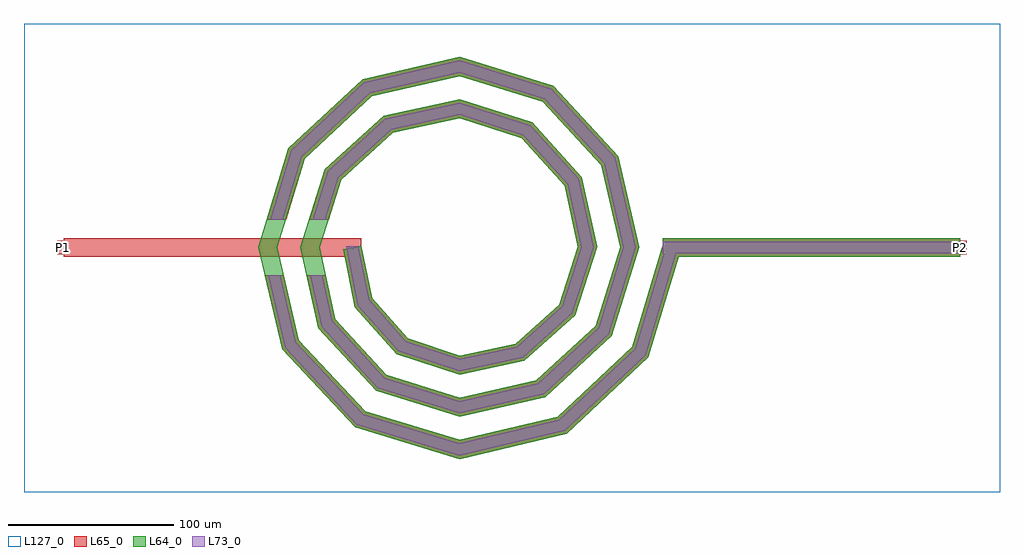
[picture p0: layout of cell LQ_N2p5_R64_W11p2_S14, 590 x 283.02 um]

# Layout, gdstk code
import gdstk
lib = gdstk.Library(unit=1e-6, precision=1e-09)
def R(c, l, rs):  # rectangles x0, y0, x1, y1
    for r in rs: c.add(gdstk.rectangle(r[:2], r[2:], *l))
def P(c, l, *ps):  # polygons
    for p in ps: c.add(gdstk.Polygon(p, *l))
L64_0 = (64, 0)
L65_0 = (65, 0)
L73_0 = (73, 0)
L127_0 = (127, 0)

lq_n2p5_r64_w11p2_s14 = lib.new_cell('LQ_N2p5_R64_W11p2_S14')
R(lq_n2p5_r64_w11p2_s14, L64_0, [(122.859,-5.6,302.859,5.6)])
P(lq_n2p5_r64_w11p2_s14, L64_0, [(-52.717,-30.833),(-31.309,-54.894),(0.323,-65.318),(33.992,-58.25),(60.398,-34.519),(71.689,0.296),(63.78,37.156),(37.725,65.904),(0.274,78.061),(-40.324,69.308),(-71.411,40.929),(-84.432,0.255),(-74.836,-43.493),(-44.13,-76.921),(0.238,-90.804),(46.665,-80.362),(82.431,-47.329),(97.176,0.223),(85.887,49.839),(50.527,87.943),(0.21,103.548),(-53.014,91.412),(-93.455,53.723),(-109.92,0.199),(-96.936,-56.191),(-56.918,-98.968),(0.188,-116.292),(59.368,-102.459),(104.482,-60.113),(123.098,1.617),(133.821,-1.617),(114.337,-66.223),(64.843,-112.681),(0.188,-127.882),(-63.045,-108.814),(-107.167,-61.648),(-121.509,0.199),(-103.289,59.868),(-58.452,101.654),(0.21,115.136),(56.692,97.764),(96.141,55.255),(108.764,0.223),(92.239,-53.517),(52.056,-90.629),(0.238,-102.391),(-50.344,-86.712),(-85.118,-48.856),(-96.018,0.255),(-81.184,47.172),(-45.653,79.608),(0.274,89.645),(44.003,75.654),(74.099,42.448),(83.271,0.296),(70.123,-40.837),(39.24,-68.592),(0.323,-76.898),(-37.675,-64.589),(-63.087,-36.027),(-70.222,-1.122),(-59.249,1.122)])
R(lq_n2p5_r64_w11p2_s14, L65_0, [(-239.136,-5.6,-59.136,5.6), (122.859,-5.6,302.859,5.6), (-243.136,-4,-235.136,4), (298.859,-4,306.859,4)])
P(lq_n2p5_r64_w11p2_s14, L65_0, [(-96.936,-56.191),(-56.918,-98.968),(0.188,-116.292),(59.368,-102.459),(104.482,-60.113),(123.098,1.617),(133.821,-1.617),(114.337,-66.223),(64.843,-112.681),(0.188,-127.882),(-63.045,-108.814),(-107.167,-61.648),(-117.567,-16.8),(-106.07,-16.8)],
  [(-74.836,-43.494),(-44.13,-76.921),(0.238,-90.804),(46.666,-80.362),(82.431,-47.329),(97.176,0.223),(85.887,49.839),(50.527,87.943),(0.21,103.548),(-53.014,91.412),(-93.455,53.723),(-104.73,16.8),(-116.44,16.8),(-103.289,59.868),(-58.452,101.654),(0.21,115.137),(56.692,97.764),(96.141,55.255),(108.764,0.223),(92.239,-53.517),(52.056,-90.629),(0.238,-102.391),(-50.344,-86.712),(-85.118,-48.856),(-92.233,-16.8),(-80.76,-16.8)],
  [(-31.309,-54.894),(0.323,-65.318),(33.992,-58.25),(60.398,-34.519),(71.689,0.296),(63.78,37.156),(37.725,65.904),(0.274,78.061),(-40.324,69.308),(-71.412,40.929),(-79.04,16.8),(-90.787,16.8),(-81.184,47.172),(-45.653,79.608),(0.274,89.645),(44.003,75.654),(74.099,42.448),(83.271,0.296),(70.123,-40.837),(39.24,-68.592),(0.323,-76.898),(-37.675,-64.589),(-63.087,-36.027),(-70.222,-1.122),(-59.249,1.122),(-52.717,-30.833)])
R(lq_n2p5_r64_w11p2_s14, L73_0, [(122.859,-3.6,302.859,3.6)])
P(lq_n2p5_r64_w11p2_s14, L73_0, [(-98.763,-57.165),(-58.012,-100.726),(0.121,-118.362),(60.346,-104.284),(106.242,-61.204),(125.013,1.039),(131.906,-1.039),(112.577,-65.132),(63.865,-110.856),(0.121,-125.812),(-61.951,-107.056),(-105.34,-60.674),(-115.514,-16.8),(-108.123,-16.8)],
  [(-76.672,-44.451),(-45.239,-78.669),(0.153,-92.873),(47.628,-82.195),(84.183,-48.434),(99.245,0.143),(87.718,50.806),(51.627,89.697),(0.135,105.617),(-53.985,93.241),(-95.211,54.82),(-106.821,16.8),(-114.349,16.8),(-101.533,58.77),(-57.481,99.825),(0.135,113.067),(55.591,96.011),(94.31,54.288),(106.695,0.143),(90.487,-52.412),(51.094,-88.796),(0.153,-100.322),(-49.234,-84.963),(-83.282,-47.898),(-90.184,-16.8),(-82.809,-16.8)],
  [(-32.446,-56.626),(0.208,-67.386),(34.929,-60.096),(62.134,-35.647),(73.757,0.191),(65.623,38.101),(38.846,67.645),(0.176,80.129),(-41.275,71.148),(-73.157,42.044),(-81.138,16.8),(-88.689,16.8),(-79.439,46.058),(-44.702,77.769),(0.176,87.576),(42.882,73.913),(72.256,41.503),(81.203,0.191),(68.386,-39.709),(38.303,-66.745),(0.208,-74.83),(-36.538,-62.858),(-61.235,-35.099),(-68.263,0.721),(-61.208,0.721),(-54.569,-31.76)])
R(lq_n2p5_r64_w11p2_s14, L127_0, [(-263.136,-147.882,326.859,135.137)])
lq_n2p5_r64_w11p2_s14.add(gdstk.Label('P2', (302.859,0), layer=65, texttype=0))
lq_n2p5_r64_w11p2_s14.add(gdstk.Label('P1', (-239.136,0), layer=65, texttype=0))
lq_n2p5_r64_w11p2_s14.add(gdstk.Label('P2', (306.859,0), layer=145, texttype=0))
lq_n2p5_r64_w11p2_s14.add(gdstk.Label('P1', (-243.136,0), layer=145, texttype=0))

lib.write_gds('LQ_N2p5_R64_W11p2_S14.gds')
